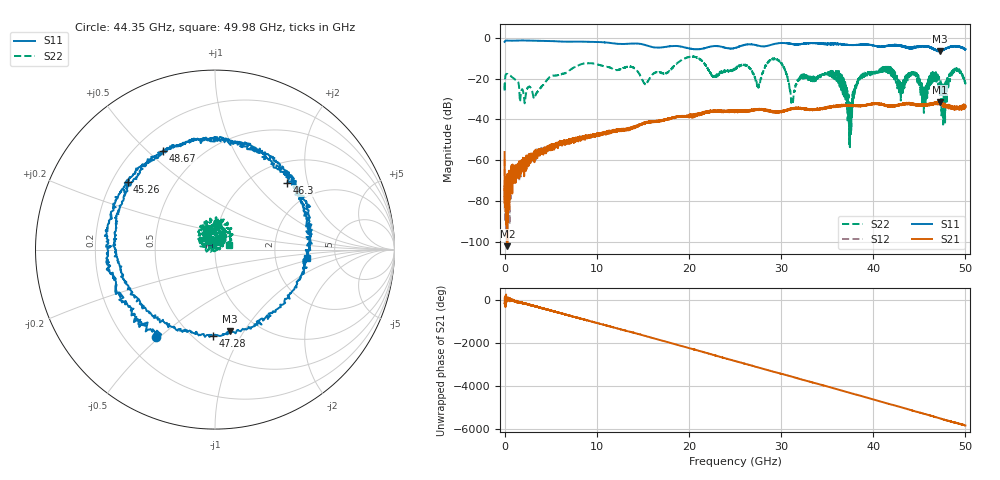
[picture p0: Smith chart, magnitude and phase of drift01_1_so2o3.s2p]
!Created with skrf (http://scikit-rf.org).
# Hz S RI R 50.0
!freq ReS11 ImS11 ReS21 ImS21 ReS12 ImS12 ReS22 ImS22
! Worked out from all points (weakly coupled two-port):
!   10001 points, 300 kHz to 50 GHz, reference 50 ohm
!   highest |S21| = -31.39 dB at 47.24 GHz (marker M1); lowest = -101.9 dB at 295.3 MHz (marker M2)
!   lowest |S11| = -6.7 dB at 47.2 GHz (marker M3), VSWR 2.72, Z = 37.4 - j43.4 ohm
!   |S11| at or under -10 dB: nowhere
!   |S22| runs from -53.5 to -9.2 dB; largest |S21 - S12| = 0.0039
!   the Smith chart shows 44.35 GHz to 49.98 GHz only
!   S11 on the Smith chart (normalised r, x): 44.35 GHz: 0.33, -0.49; 45.26 GHz: 0.26, +0.32; 46.3 GHz: 1.41, +1.50; 47.28 GHz: 0.62, -0.77; 48.67 GHz: 0.31, +0.56; 49.98 GHz: 3.05, -0.41
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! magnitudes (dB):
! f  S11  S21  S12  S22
! 300 kHz  -2.1  -55.9  -59.3  -22.3
! 295.3 MHz  -1.4  -101.9  -74.9  -17.7
! 3.28 GHz  -1.5  -56.9  -55.7  -29.0
! 8.335 GHz  -2.0  -49.9  -49.2  -12.9
! 16.67 GHz  -4.9  -40.8  -40.7  -16.7
! 25 GHz  -5.0  -35.8  -35.8  -15.2
! 29.59 GHz  -2.8  -36.1  -36.4  -10.7
! 31.23 GHz  -3.1  -34.5  -34.6  -30.7
! 33.34 GHz  -2.6  -35.3  -35.2  -20.3
! 36.21 GHz  -3.2  -33.5  -33.3  -21.1
! 37.47 GHz  -3.6  -33.4  -33.2  -36.9
! 38.65 GHz  -3.4  -33.6  -33.4  -20.4
! 41.67 GHz  -3.9  -33.0  -33.4  -15.4
! 44.35 GHz  -4.6  -32.3  -32.7  -16.8
! 45.26 GHz  -4.2  -33.0  -33.1  -23.7
! 46.3 GHz  -5.2  -32.7  -32.6  -17.9
! 47.2 GHz  -6.7  -31.8  -32.0  -23.4
! 47.24 GHz  -6.4  -31.4  -32.1  -27.5
! 47.28 GHz  -6.4  -32.3  -32.1  -21.9
! 48.67 GHz  -4.1  -34.0  -34.5  -16.7
! 49.98 GHz  -5.8  -32.9  -33.6  -21.9
! 50 GHz  -5.6  -33.6  -34.2  -22.0
